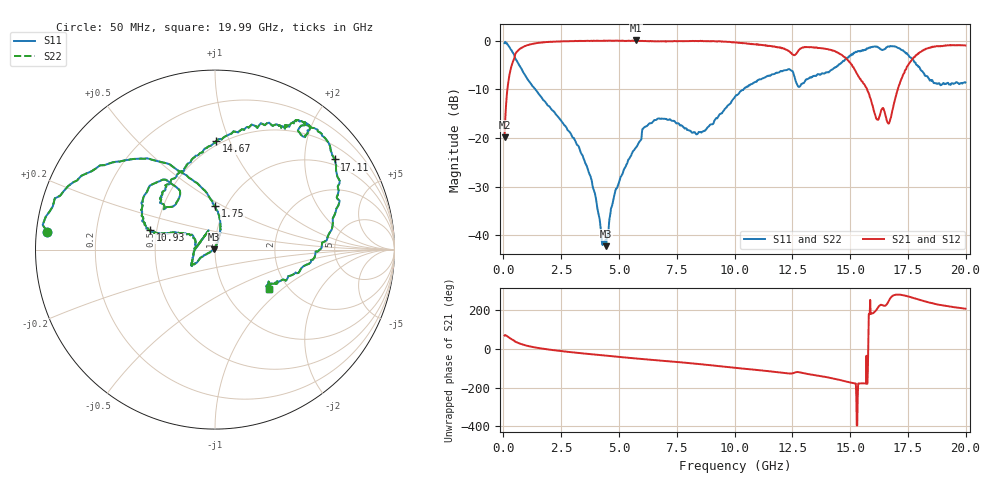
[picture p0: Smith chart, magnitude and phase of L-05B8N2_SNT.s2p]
! Data Taken on a HP 8720C VNA using a shunt-through fixture with TRL* de-embedding
#	mhz	s	ma	r	50
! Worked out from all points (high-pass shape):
!   998 points, 50 MHz to 19.99 GHz, reference 50 ohm
!   highest |S21| = 0.02 dB at 5.75 GHz (marker M1); lowest = -19.8 dB at 50 MHz (marker M2)
!   |S21| within 3 dB of the highest: 499.4 MHz to 12.55 GHz (12.05 GHz wide, 185 % of centre); 17.88 GHz to end of sweep (the widest 2 of 3)
!   lowest |S11| = -42.2 dB at 4.45 GHz (marker M3), VSWR 1.02, Z = 49.3 + j0.251 ohm
!   |S11| at or under -10 dB: 1.378 GHz to 10.39 GHz (9.014 GHz wide, 153 % of centre)
!   |S22| runs from -42.2 to -0.3 dB; largest |S21 - S12| = 0
!   S11 on the Smith chart (normalised r, x): 50 MHz: 0.03, +0.05; 1.75 GHz: 0.89, +0.46; 10.93 GHz: 0.46, +0.12; 14.67 GHz: 0.47, +0.89; 17.11 GHz: 0.83, +2.76; 19.99 GHz: 1.60, -0.81
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50  0.9412 173.9  0.1018 68.7  0.1018 68.7  0.9412 173.9
230  0.8741 154.6  0.4011 58.8  0.4011 58.8  0.8741 154.6
530  0.6424 128.0  0.7406 35.5  0.7406 35.5  0.6424 128.0
1750  0.2425 90.2  0.9613 -0.3  0.9613 -0.3  0.2425 90.2
3390  0.06761 70.8  0.9898 -23.3  0.9898 -23.3  0.06761 70.8
4450  0.00773 160.7  0.9954 -35.8  0.9954 -35.8  0.00773 160.7
4850  0.02913 -152.6  0.9971 -40.3  0.9971 -40.3  0.02913 -152.6
5750  0.08037 -150.5  1.002 -50.3  1.002 -50.3  0.08037 -150.5
6710  0.1584 -145.4  0.9811 -60.2  0.9811 -60.2  0.1584 -145.4
8410  0.1107 166.8  0.9872 -78.4  0.9872 -78.4  0.1107 166.8
10030  0.2654 159.0  0.9561 -98.2  0.9561 -98.2  0.2654 159.0
10930  0.3777 163.3  0.9098 -109.2  0.9098 -109.2  0.3777 163.3
13350  0.4249 134.9  0.8535 -133.9  0.8535 -133.9  0.4249 134.9
14670  0.6044 89.4  0.7016 -164.3  0.7016 -164.3  0.6044 89.4
15170  0.7471 68.6  0.5163 -178.4  0.5163 -178.4  0.7471 68.6
15350  0.7777 62.7  0.4327 -179.9  0.4327 -179.9  0.7777 62.7
15430  0.7719 61.5  0.4036 -178.9  0.4036 -178.9  0.7719 61.5
15790  0.8345 58.5  0.294 35.5  0.294 35.5  0.8345 58.5
16670  0.8689 52.8  0.1403 -113.9  0.1403 -113.9  0.8689 52.8
17110  0.8345 37.0  0.3427 -80.4  0.3427 -80.4  0.8345 37.0
18210  0.4542 -18.1  0.807 -114.2  0.807 -114.2  0.4542 -18.1
19990  0.3711 -36.2  0.8893 -153.0  0.8893 -153.0  0.3711 -36.2
